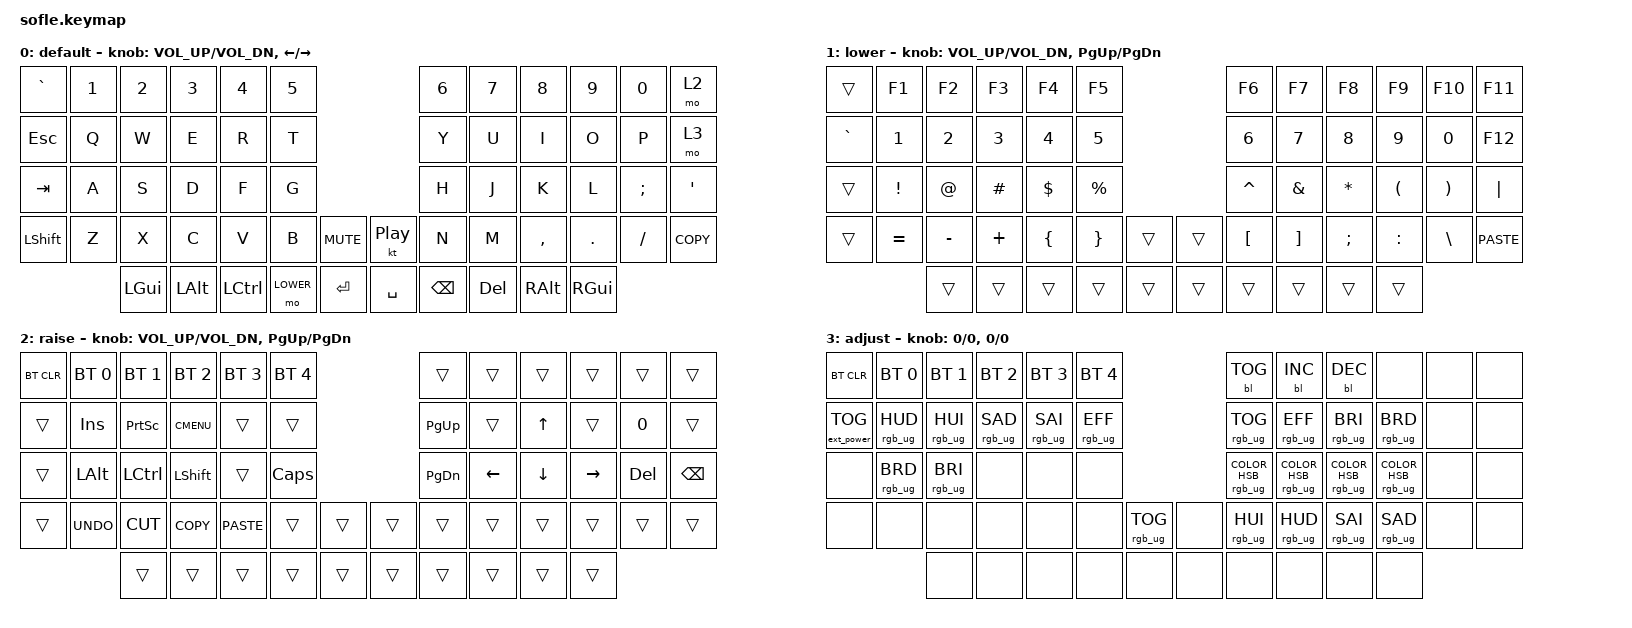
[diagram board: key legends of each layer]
/*
 * Copyright (c) 2020 The ZMK Contributors
 *
 * SPDX-License-Identifier: MIT
 */

#include <behaviors.dtsi>
#include <dt-bindings/zmk/backlight.h>
#include <dt-bindings/zmk/bt.h>
#include <dt-bindings/zmk/ext_power.h>
#include <dt-bindings/zmk/keys.h>
#include <dt-bindings/zmk/keys.h>
#include <dt-bindings/zmk/rgb.h>

#define BASE 0
#define LOWER 1
#define RAISE 2
#define ADJUST 3

/ {
    // Activate ADJUST layer by pressing raise and lower

    conditional_layers {
        compatible = "zmk,conditional-layers";

        adjust_layer {
            if-layers = <LOWER RAISE>;
            then-layer = <ADJUST>;
        };
    };

    keymap {
        compatible = "zmk,keymap";

        default_layer {
            display-name = "default";

            // ------------------------------------------------------------------------------------------------------------
            // |   `   |  1  |  2  |  3   |  4   |  5   |                   |  6   |  7    |  8    |  9   |   0   |       |
            // |  ESC  |  Q  |  W  |  E   |  R   |  T   |                   |  Y   |  U    |  I    |  O   |   P   | BKSPC |
            // |  TAB  |  A  |  S  |  D   |  F   |  G   |                   |  H   |  J    |  K    |  L   |   ;   |   '   |
            // | SHIFT |  Z  |  X  |  C   |  V   |  B   |  MUTE  |  |       |  N   |  M    |  ,    |  .   |   /   | SHIFT |
            //               | GUI | ALT  | CTRL | LOWER|  ENTER |  | SPACE | RAISE| CTRL  | ALT   | GUI  |

            bindings = <
&kp GRAVE  &kp N1  &kp N2    &kp N3    &kp N4     &kp N5                                     &kp N6         &kp N7   &kp N8     &kp N9    &kp N0    &mo 2
&kp ESC    &kp Q   &kp W     &kp E     &kp R      &kp T                                      &kp Y          &kp U    &kp I      &kp O     &kp P     &mo 3
&kp TAB    &kp A   &kp S     &kp D     &kp F      &kp G                                      &kp H          &kp J    &kp K      &kp L     &kp SEMI  &kp SQT
&kp LSHFT  &kp Z   &kp X     &kp C     &kp V      &kp B      &kp C_MUTE    &kt C_PLAY_PAUSE  &kp N          &kp M    &kp COMMA  &kp DOT   &kp FSLH  &kp K_COPY
                   &kp LGUI  &kp LALT  &kp LCTRL  &mo LOWER  &kp RET       &kp SPACE         &kp BACKSPACE  &kp DEL  &kp RALT   &kp RGUI
            >;

            sensor-bindings =
                <&inc_dec_kp C_VOL_UP C_VOL_DN>,
                <&inc_dec_kp LEFT_ARROW RIGHT>;
        };

        lower_layer {
            display-name = "lower";

            // TODO: Some binds are waiting for shifted keycode support.
            // ------------------------------------------------------------------------------------------------------------
            // |       |  F1 |  F2 |  F3  |  F4  |  F5  |                   |  F6  |  F7   |  F8   |  F9  |  F10  |  F11  |
            // |   `   |  1  |  2  |  3   |  4   |  5   |                   |  6   |  7    |  8    |  9   |   0   |  F12  |
            // |       |  !  |  @  |  #   |  $   |  %   |                   |  ^   |  &    |  *    |  (   |   )   |   |   |
            // |       |  =  |  -  |  +   |  {   |  }   |        |  |       |  [   |  ]    |  ;    |  :   |   \   |       |
            //               |     |      |      |      |        |  |       |      |       |       |      |

            bindings = <
&trans     &kp F1     &kp F2     &kp F3    &kp F4    &kp F5                       &kp F6     &kp F7    &kp F8     &kp F9     &kp F10   &kp F11
&kp GRAVE  &kp N1     &kp N2     &kp N3    &kp N4    &kp N5                       &kp N6     &kp N7    &kp N8     &kp N9     &kp N0    &kp F12
&trans     &kp EXCL   &kp AT     &kp HASH  &kp DLLR  &kp PRCNT                    &kp CARET  &kp AMPS  &kp ASTRK  &kp LPAR   &kp RPAR  &kp PIPE
&trans     &kp EQUAL  &kp MINUS  &kp PLUS  &kp LBRC  &kp RBRC   &trans    &trans  &kp LBKT   &kp RBKT  &kp SEMI   &kp COLON  &kp BSLH  &kp K_PASTE
                      &trans     &trans    &trans    &trans     &trans    &trans  &trans     &trans    &trans     &trans
            >;

            sensor-bindings = <&inc_dec_kp C_VOL_UP C_VOL_DN &inc_dec_kp PG_UP PG_DN>;
        };

        raise_layer {
            display-name = "raise";

            // ------------------------------------------------------------------------------------------------------------
            // | BTCLR | BT1  | BT2  |  BT3  |  BT4  |  BT5 |                |      |      |       |      |       |       |
            // |       | INS  | PSCR | GUI   |       |      |                | PGUP |      |   ^   |      |       |       |
            // |       | ALT  | CTRL | SHIFT |       | CAPS |                | PGDN |   <- |   v   |  ->  |  DEL  | BKSPC |
            // |       | UNDO | CUT  | COPY  | PASTE |      |      |  |      |      |      |       |      |       |       |
            //                |      |       |       |      |      |  |      |      |      |       |      |

            bindings = <
&bt BT_CLR  &bt BT_SEL 0  &bt BT_SEL 1  &bt BT_SEL 2  &bt BT_SEL 3  &bt BT_SEL 4                    &trans     &trans    &trans    &trans     &trans   &trans
&trans      &kp INS       &kp PSCRN     &kp K_CMENU   &trans        &trans                          &kp PG_UP  &trans    &kp UP    &trans     &kp N0   &trans
&trans      &kp LALT      &kp LCTRL     &kp LSHFT     &trans        &kp CLCK                        &kp PG_DN  &kp LEFT  &kp DOWN  &kp RIGHT  &kp DEL  &kp BSPC
&trans      &kp K_UNDO    &kp K_CUT     &kp K_COPY    &kp K_PASTE   &trans        &trans    &trans  &trans     &trans    &trans    &trans     &trans   &trans
                          &trans        &trans        &trans        &trans        &trans    &trans  &trans     &trans    &trans    &trans
            >;

            sensor-bindings = <&inc_dec_kp C_VOL_UP C_VOL_DN &inc_dec_kp PG_UP PG_DN>;
        };

        adjust_layer {
            // ----------------------------------------------------------------------------------------------------------------------------
            // | BTCLR  |  BT1    |  BT2    |   BT3   |   BT4   |   BT5   |                  |      |      |       |      |       |       |
            // | EXTPWR | RGB_HUD | RGB_HUI | RGB_SAD | RGB_SAI | RGB_EFF |                  |      |      |       |      |       |       |
            // |        | RGB_BRD | RGB_BRI |         |         |         |                  |      |      |       |      |       |       |
            // |        |         |         |         |         |         | RGB_TOG | |      |      |      |       |      |       |       |
            //                    |         |         |         |         |         | |      |      |      |       |      |

            display-name = "adjust";
            bindings = <
&bt BT_CLR         &bt BT_SEL 0     &bt BT_SEL 1     &bt BT_SEL 2     &bt BT_SEL 3     &bt BT_SEL 4                               &bl BL_TOG                      &bl BL_INC                         &bl BL_DEC                        &none                              &none  &none
&ext_power EP_TOG  &rgb_ug RGB_HUD  &rgb_ug RGB_HUI  &rgb_ug RGB_SAD  &rgb_ug RGB_SAI  &rgb_ug RGB_EFF                            &rgb_ug RGB_TOG                 &rgb_ug RGB_EFF                    &rgb_ug RGB_BRI                   &rgb_ug RGB_BRD                    &none  &none
&none              &rgb_ug RGB_BRD  &rgb_ug RGB_BRI  &none            &none            &none                                      &rgb_ug RGB_COLOR_HSB(0,96,49)  &rgb_ug RGB_COLOR_HSB(184,100,39)  &rgb_ug RGB_COLOR_HSB(62,100,43)  &rgb_ug RGB_COLOR_HSB(134,100,46)  &none  &none
&none              &none            &none            &none            &none            &none            &rgb_ug RGB_TOG    &none  &rgb_ug RGB_HUI                 &rgb_ug RGB_HUD                    &rgb_ug RGB_SAI                   &rgb_ug RGB_SAD                    &none  &none
                                    &none            &none            &none            &none            &none              &none  &none                           &none                              &none                             &none
            >;

            sensor-bindings = <&inc_dec_kp 0 0>, <&inc_dec_kp 0 0>;
        };
    };
};
